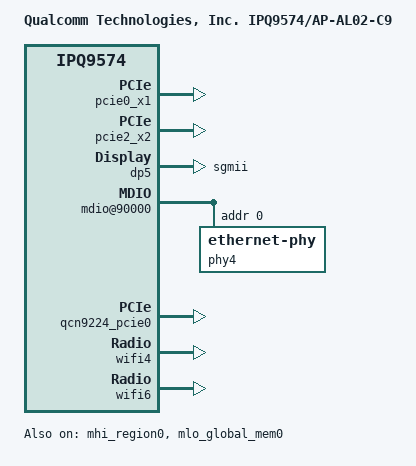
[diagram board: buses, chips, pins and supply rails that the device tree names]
// SPDX-License-Identifier: (GPL-2.0+ OR BSD-3-Clause)
/*
 * IPQ9574 AL02-C9 board device tree source
 *
 * Copyright (c) 2020-2021 The Linux Foundation. All rights reserved.
 * Copyright (c) 2022 Qualcomm Innovation Center, Inc. All rights reserved.
 */

/dts-v1/;

#include "ipq9574-al02-c6.dts"

/ {
	#address-cells = <0x2>;
	#size-cells = <0x2>;
	model = "Qualcomm Technologies, Inc. IPQ9574/AP-AL02-C9";
	compatible = "qcom,ipq9574-ap-al02-c9", "qcom,ipq9574-al02", "qcom,ipq9574";
	interrupt-parent = <&intc>;

	aliases {
                /delete-property/ethernet5;
        };

	soc {
		wsi: wsi {
			id = <0>;
			num_chip = <2>;
		};

		pcie0_x1: pci@28000000 {
			pinctrl-0 = <&pcie0_wake_pins &pci0_pin>;
			interrupts-extended = <&tlmm 24 IRQ_TYPE_LEVEL_HIGH>,
					      <&intc GIC_SPI 51 IRQ_TYPE_LEVEL_HIGH>;
			interrupt-names = "wake_gpio", "global_irq";
			status = "ok";
			pcie0_rp {
				reg = <0 0 0 0 0>;

				wifi@0 {
					reg = <0 0 0 0 0>;

					qti,disable-rddm-prealloc;
					qti,rddm-seg-len = <0x1000>;
					boot-args = <0x2 0x4 0x34 0x3 0x0 0x0     /* MX Rail, GPIO52, Drive strength 0x3 */
							0x4 0x4 0x18 0x3 0x0 0x0  /* RFA1p2 Rail, GPIO24, Drive strength 0x3 */
							0x0 0x4 0x0 0x0 0x0 0x0>; /* End of arguments */
					license-file = "";
#if defined(__CNSS2__)
					qrtr_node_id = <0x30>;
					memory-region = <0>,<&mhi_region0>;
#else
					/* qcn9224 tgt-mem-mode=0 layout
					* refer ipq9574-wkk-default-memory.dtsi */
					memory-region = <&qcn9224_pcie0>;
					qcom,board_id = <0x1010>;
					qcom,wsi = <&wsi>;
#endif
					status = "ok";
				};
			};
		};

		pcie0_phy: phy@84000 {
			status = "ok";
		};

#if !defined(__CNSS2__)
		pcie2_x2: pci@20000000 {
			status = "ok";
			pcie2_rp {
				reg = <0 0 0 0 0>;
				wifi@2 {
					reg = <0 0 0 0 0>;

					/* qcn9224 tgt-mem-mode=0 layout
					* refer ipq9574-wkk-default-memory.dtsi */
					memory-region = <&qcn9224_pcie2>;
					qcom,board_id = <0x100e>;
					status = "ok";
					qcom,wsi = <&wsi>;
				};
			};
		};
#endif
		pcie3_x2: pci@18000000 {
			status = "disabled";
			/delete-node/ pcie3_rp;
			pcie3_rp {
				reg = <0 0 0 0 0>;
			};
		};

		pcie3_phy: phy@f4000 {
			status = "disabled";
		};

		dp5 {
			device_type = "network";
			compatible = "qcom,nss-dp";
			qcom,id = <6>;
			reg = <0x3a514000 0x4000>;
			qcom,mactype = <1>;
			qcom,link-poll = <1>;
			local-mac-address = [000000000000];
			qcom,phy-mdio-addr = <0>;
			phy-mode = "sgmii";
                };

		/delete-node/dp6;

		mdio@90000 {
			phy4: ethernet-phy@4 {
				reg = <0>;
			};
			/delete-node/ ethernet-phy@5;
		};

		ess-instance {
			ess-switch@3a000000 {
				switch_lan_bmp = <0x1e>; /* lan port bitmap */
				switch_wan_bmp = <0x40>; /* wan port bitmap */
				switch_mac_mode1 = <0xff>; /* mac mode for uniphy instance1*/
				qcom,port_phyinfo {
					port@4 {
						port_id = <6>;
						phy_address = <0>;
					};

					/delete-node/port@5;
				};
			};
		};
	};
};

/* In AL02-C9, the max supported CPU Freq is 1.5 GHz. Disabling frequencies beyond 1.5GHz*/
&cpu_opp_table {
	opp-1800000000 {
		opp-supported-hw = <0>;
	};

	opp-2208000000 {
		opp-supported-hw = <0>;
	};
};

/* Disable IPQ9574 integrated radio's reserved memory */
&q6_region {
	status = "disabled";
};

&m3_dump {
	status = "disabled";
};

&q6_etr_region {
	status = "disabled";
};

&q6_caldb_region {
	status = "disabled";
};

&qcn9224_pcie0 {
	status = "ok";
};

&mhi_region0 {
	status = "ok";
};

&qcn9224_pcie3 {
	status = "disabled";
};

&mhi_region3 {
	status = "disabled";
};

/* MLO GLOBAL MEM REGION size is 14MB for RDP with 2 QCN224 radios */
&mlo_global_mem0 {
	size = <0x0 0xE00000>;
	status = "ok";
};

&wifi0 {
	/* Disable IPQ9574 integratd 2G Radio */
	status = "disabled";
};

&wifi4 {
	/* QCN9224 split-radio 2.4G + 5G *(Low) */
	hremote_node = <&qcn9224_pcie0>;
	board_id = <0x1010>;
	hw_link_id = <0 1>;
	status = "ok";
};

&wifi5 {
	status = "disabled";
};

&wifi6 {
	/* QCN9224 split-radio 5G (High) + 6G */
	hremote_node = <&qcn9224_pcie2>;
	board_id = <0x100e>;
	hw_link_id = <2 3>;
	status = "ok";
};

&wifi7 {
	status = "disabled";
};
